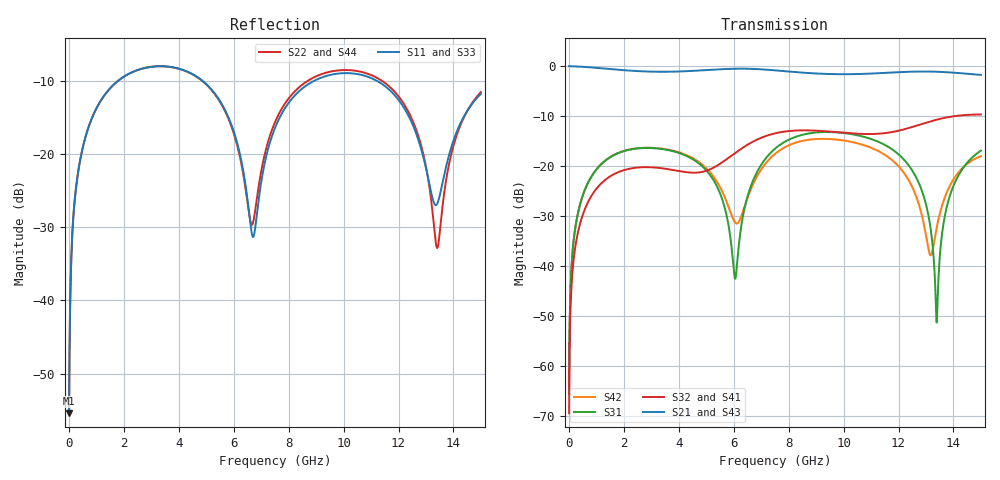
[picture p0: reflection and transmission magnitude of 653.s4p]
! Created with skrf 1.8.0 (http://scikit-rf.org).
# GHz S RI R 50.0
!freq ReS11 ImS11 ReS12 ImS12 ReS13 ImS13
! ReS14 ImS14
! ReS21 ImS21 ReS22 ImS22 ReS23 ImS23
! ReS24 ImS24
! ReS31 ImS31 ReS32 ImS32 ReS33 ImS33
! ReS34 ImS34
! ReS41 ImS41 ReS42 ImS42 ReS43 ImS43
! ReS44 ImS44
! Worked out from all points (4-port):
!   2499 points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, 5 MHz to 15 GHz, reference 50 ohm
!   strongest paths, dB at 5 MHz, 3.476 GHz, 7.19 GHz, 11.1 GHz, 15 GHz:
!     S21: 0.0, -1.1, -0.7, -1.5, -1.8
!     S43: 0.0, -1.1, -0.7, -1.5, -1.8
!     S32: -69.5, -20.5, -14.0, -13.6, -9.7
!     S41: -69.5, -20.6, -14.0, -13.7, -9.7
!     S31: -65.6, -16.7, -18.3, -14.8, -16.9
!     S42: -65.6, -16.6, -19.3, -16.6, -18.0
!   lowest |S11| = -55.4 dB at 5 MHz (marker M1), VSWR 1.00, Z = 50.1 + j0.103 ohm
!   |S11| at or under -10 dB: start of sweep to 1.803 GHz; 4.848 GHz to 8.951 GHz (4.102 GHz wide, 59.5 % of centre); 11.19 GHz to end of sweep
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0.005  0.00135 0.00103  0.9986 -0.00262  6.63e-05 0.00052  -6.45e-05 -0.000328
       0.9986 -0.00262  0.00135 0.00103  -6.45e-05 -0.000328  6.63e-05 0.00052
       6.63e-05 0.00052  -6.45e-05 -0.000328  0.00135 0.00103  0.9986 -0.00262
       -6.45e-05 -0.000328  6.63e-05 0.00052  0.9986 -0.00262  0.00135 0.00103
0.3626511  0.0215 0.0784  0.9704 -0.1893  0.00971 0.036  -0.00813 -0.0225
           0.9704 -0.1893  0.0215 0.0784  -0.00813 -0.0225  0.00979 0.036
           0.00971 0.036  -0.00813 -0.0225  0.0215 0.0784  0.9704 -0.1893
           -0.00813 -0.0225  0.00979 0.036  0.9704 -0.1893  0.0215 0.0784
1.825761  0.2599 0.1844  0.5726 -0.7175  0.1202 0.0633  -0.0868 -0.01
          0.5726 -0.7175  0.2597 0.1844  -0.0869 -0.00992  0.1214 0.0616
          0.1202 0.0633  -0.0869 -0.00992  0.2598 0.1844  0.5726 -0.7175
          -0.0868 -0.01  0.1214 0.0616  0.5726 -0.7175  0.2597 0.1844
6.621509  0.0267 -0.0169  -0.9356 -0.0817  0.0219 0.0586  -0.0115 0.1702
          -0.9356 -0.0817  0.0325 -0.00908  -0.00986 0.1703  -0.0196 0.0549
          0.0219 0.0586  -0.00986 0.1703  0.027 -0.015  -0.9356 -0.0813
          -0.0115 0.1702  -0.0196 0.0549  -0.9356 -0.0813  0.0318 -0.00709
11.61734  0.2356 -0.1483  0.4543 0.7282  0.0607 -0.1437  0.1557 -0.1468
          0.4543 0.7282  0.2333 -0.177  0.1532 -0.1513  0.084 -0.0901
          0.0607 -0.1437  0.1532 -0.1513  0.2393 -0.1464  0.452 0.7286
          0.1557 -0.1468  0.084 -0.0901  0.452 0.7286  0.2352 -0.1803
13.39308  0.0445 0.00694  0.8691 0.1272  0.00236 -0.00133  0.0376 -0.2885
          0.8691 0.1272  0.0227 -0.00311  0.0304 -0.2894  0.019 0.0152
          0.00236 -0.00133  0.0304 -0.2894  0.0488 0.00476  0.8686 0.1306
          0.0376 -0.2885  0.019 0.0152  0.8686 0.1306  0.0196 -0.00638
15  0.1976 0.1632  0.6644 -0.4755  0.1422 -0.00936  -0.2147 -0.2471
    0.6644 -0.4755  0.1932 0.1794  -0.221 -0.242  0.1237 0.0197
    0.1422 -0.00936  -0.221 -0.242  0.1975 0.1611  0.6668 -0.4729
    -0.2147 -0.2471  0.1237 0.0197  0.6668 -0.4729  0.1903 0.1808
